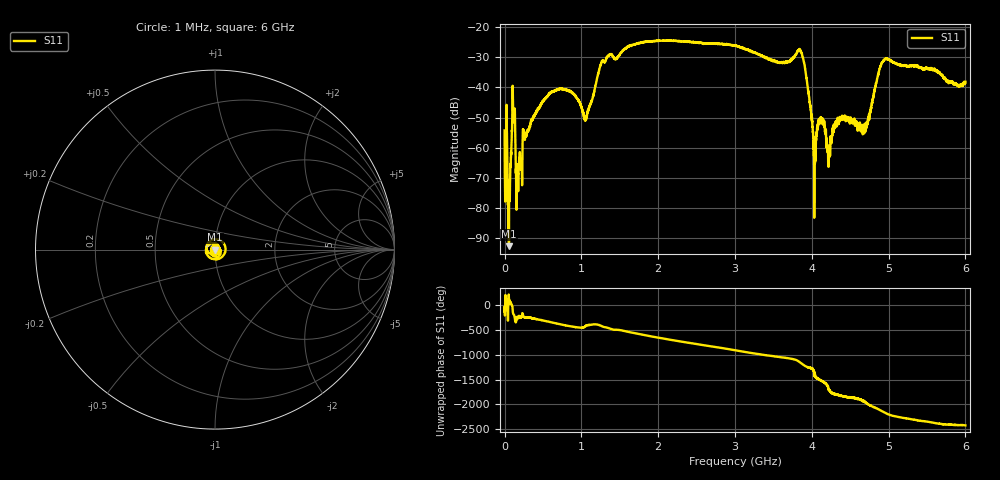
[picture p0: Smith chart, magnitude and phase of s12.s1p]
#  HZ  S  DB  R  50.0
! Rohde & Schwarz ZVL
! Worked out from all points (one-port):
!   4001 points, 1 MHz to 6 GHz, reference 50 ohm
!   lowest |S11| = -92.6 dB at 57.99 MHz (marker M1), VSWR 1.00, Z = 50 + j0.00235 ohm
!   |S11| at or under -10 dB: start of sweep to end of sweep
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1000000  -54.26 -135.0
3.249475e7  -57.47 -66.2
5.79905e7  -92.59 89.8
6.99885e7  -72.64 45.0
1.134812e8  -49.54 -177.7
1.8097e8  -68.71 109.0
2.64956e8  -57.41 109.5
3.699385e8  -50.40 87.1
5.919015e8  -41.96 17.0
7.50875e8  -40.49 -38.3
9.143478e8  -42.59 -84.0
1.053824e9  -50.87 -67.1
1.26079e9  -31.89 -61.9
1.50075e9  -29.00 -145.0
2.250625e9  -24.73 -4.4
3.0005e9  -26.19 167.6
3.750375e9  -30.51 -6.4
3.834361e9  -27.54 -59.6
3.883853e9  -30.24 -117.2
4.038327e9  -63.71 28.5
4.113314e9  -50.66 -73.0
4.221296e9  -63.09 89.1
4.338277e9  -51.38 -4.9
4.50025e9  -50.11 -62.0
4.699717e9  -53.53 -157.7
4.939677e9  -30.89 2.3
5.250125e9  -32.88 -126.7
6e9  -38.15 97.3
